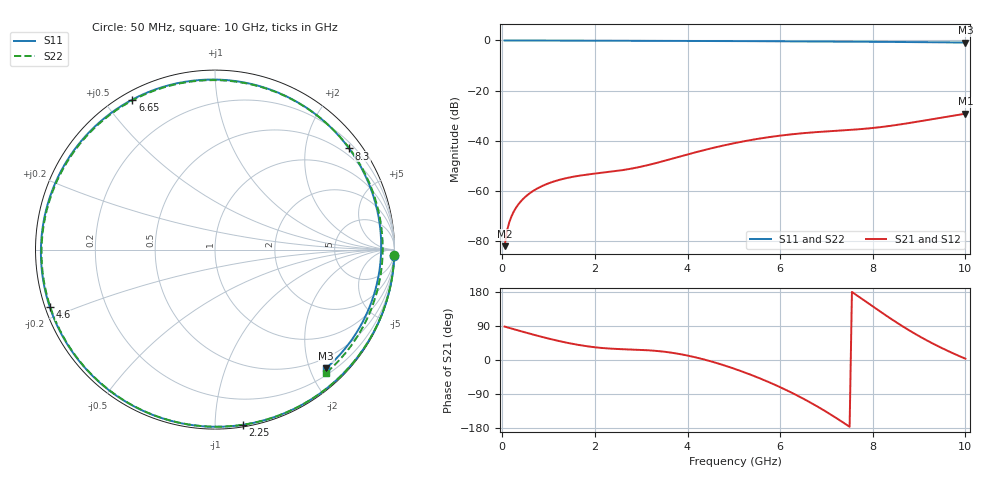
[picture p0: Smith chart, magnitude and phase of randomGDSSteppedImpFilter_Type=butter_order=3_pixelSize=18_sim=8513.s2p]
! freq	dB(S11)	phase(S11)	dB(S12)	phase(S12)
!  dB(S21)	phase(S21)	dB(S22)	phase(S22)
!S-par simulation data
#  GHz  S  DB  R 50
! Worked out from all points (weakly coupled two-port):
!   200 points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, 50 MHz to 10 GHz, reference 50 ohm
!   highest |S21| = -29.26 dB at 10 GHz (marker M1); lowest = -82.2 dB at 50 MHz (marker M2)
!   lowest |S11| = -0.9 dB at 10 GHz (marker M3), VSWR 20.16, Z = 15.5 - j114 ohm
!   |S11| at or under -10 dB: nowhere
!   |S22| runs from -0.7 to 0.0 dB; largest |S21 - S12| = 0
!   S11 on the Smith chart (normalised r, x): 50 MHz: 1, -61; 2.25 GHz: 0.01, -1.17; 4.6 GHz: 0.01, -0.17; 6.65 GHz: 0.03, +0.59; 8.3 GHz: 0.33, +2.96; 10 GHz: 0.31, -2.27
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0.05  -0.00 -1.9  -82.19 88.2  -82.19 88.2  -0.00 -1.7
0.15  -0.01 -5.6  -72.68 84.7  -72.68 84.7  -0.01 -5.0
0.25  -0.01 -9.3  -68.28 81.2  -68.28 81.2  -0.01 -8.3
0.55  -0.02 -20.4  -61.66 70.9  -61.66 70.9  -0.02 -18.2
1.05  -0.05 -38.7  -56.74 55.0  -56.74 55.0  -0.04 -34.5
1.75  -0.08 -63.6  -53.80 37.7  -53.80 37.7  -0.07 -57.2
2.25  -0.10 -81.0  -52.66 30.8  -52.66 30.8  -0.09 -73.2
2.8  -0.12 -99.8  -51.17 27.6  -51.17 27.6  -0.12 -90.8
3.4  -0.15 -119.9  -48.60 23.2  -48.60 23.2  -0.15 -110.1
4.6  -0.22 -160.7  -42.71 -7.0  -42.71 -7.0  -0.23 -150.7
5.05  -0.26 -176.7  -40.89 -24.7  -40.89 -24.7  -0.26 -167.2
5.85  -0.33 152.8  -38.39 -63.5  -38.39 -63.5  -0.35 160.2
6.65  -0.41 118.8  -36.81 -112.0  -36.81 -112.0  -0.44 122.5
6.7  -0.41 116.5  -36.73 -115.5  -36.73 -115.5  -0.44 119.9
7.1  -0.45 97.9  -36.23 -144.5  -36.23 -144.5  -0.48 98.8
7.5  -0.49 78.2  -35.75 -176.3  -35.75 -176.3  -0.52 76.7
7.85  -0.53 60.4  -35.24 154.3  -35.24 154.3  -0.54 57.0
8.3  -0.58 37.0  -34.32 116.3  -34.32 116.3  -0.56 31.9
8.35  -0.58 34.4  -34.20 112.2  -34.20 112.2  -0.56 29.1
8.75  -0.63 13.7  -33.10 80.9  -33.10 80.9  -0.58 8.0
9.15  -0.69 -6.6  -31.88 52.9  -31.88 52.9  -0.60 -11.7
10  -0.86 -46.8  -29.26 3.5  -29.26 3.5  -0.68 -48.1
